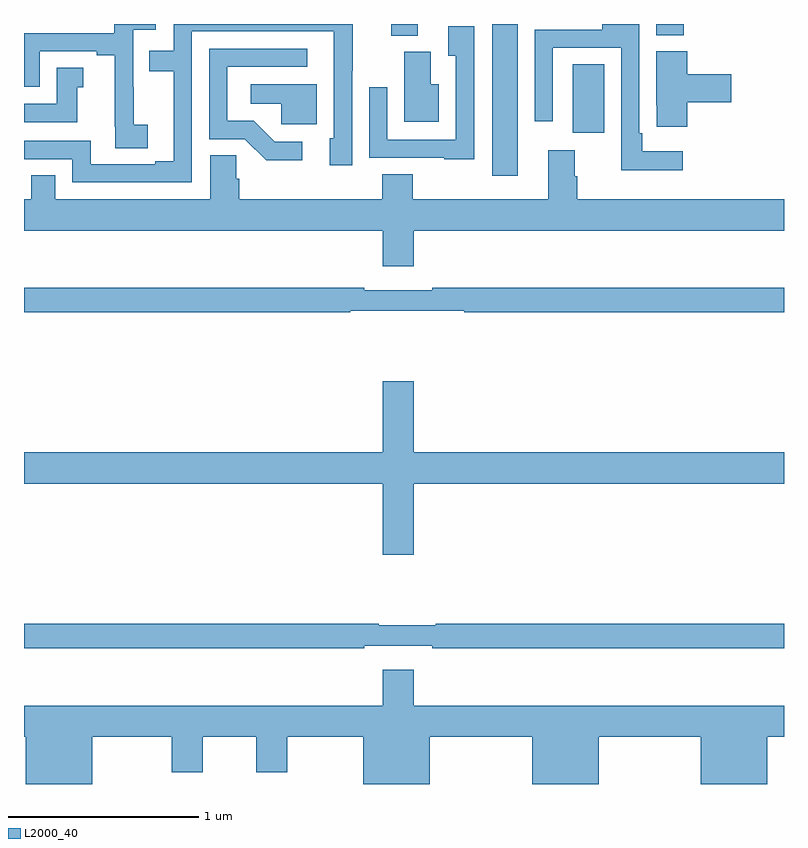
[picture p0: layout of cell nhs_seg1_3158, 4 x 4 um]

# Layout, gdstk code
import gdstk
lib = gdstk.Library(unit=1e-6, precision=1e-09)
def R(c, l, rs):  # rectangles x0, y0, x1, y1
    for r in rs: c.add(gdstk.rectangle(r[:2], r[2:], *l))
def P(c, l, *ps):  # polygons
    for p in ps: c.add(gdstk.Polygon(p, *l))
L2000_40 = (2000, 40)

nhs_seg1_3158 = lib.new_cell('nhs_seg1_3158')
R(nhs_seg1_3158, L2000_40, [(285.464,505.401,285.598,506.199), (285.887,505.626,286.054,505.988), (284.933,506.137,285.073,506.199), (286.328,506.14,286.472,506.199)])
P(nhs_seg1_3158, L2000_40, [(286.468,505.528),(286.255,505.528),(286.255,505.624),(286.239,505.624),(286.239,506.199),(286.043,506.199),(286.043,506.169),(285.687,506.169),(285.687,505.686),(285.783,505.686),(285.783,506.073),(286.143,506.073),(286.143,505.43),(286.468,505.43)],
  [(283.651,505.668),(283.577,505.668),(283.577,505.865),(283.575,505.865),(283.575,506.169),(283.693,506.169),(283.693,506.199),(283.474,506.199),(283.474,506.151),(283,506.151),(283,505.869),(283.083,505.869),(283.083,506.055),(283.382,506.055),(283.382,506.035),(283.478,506.035),(283.478,505.657),(283.48,505.657),(283.48,505.546),(283.651,505.546)],
  [(283.884,506.16),(284.631,506.16),(284.631,505.599),(284.609,505.599),(284.609,505.455),(284.727,505.455),(284.727,505.954),(284.729,505.954),(284.729,506.199),(283.788,506.199),(283.788,506.058),(283.66,506.058),(283.66,505.95),(283.787,505.95),(283.787,505.476),(283.691,505.476),(283.691,505.461),(283.35,505.461),(283.35,505.584),(283,505.584),(283,505.488),(283.254,505.488),(283.254,505.365),(283.884,505.365)],
  [(285.369,506.188),(285.233,506.188),(285.233,506.032),(285.273,506.032),(285.273,505.59),(284.913,505.59),(284.913,505.867),(284.817,505.867),(284.817,505.494),(285.213,505.494),(285.213,505.487),(285.369,505.487)],
  [(284.464,505.578),(284.319,505.578),(284.208,505.689),(284.07,505.689),(284.07,505.974),(284.491,505.974),(284.491,506.07),(283.974,506.07),(283.974,505.593),(284.163,505.593),(284.276,505.481),(284.464,505.481)],
  [(286.49,505.787),(286.723,505.787),(286.723,505.934),(286.49,505.934),(286.49,506.055),(286.328,506.055),(286.328,505.771),(286.329,505.771),(286.329,505.659),(286.49,505.659)],
  [(285.184,505.882),(285.142,505.882),(285.142,506.052),(285.002,506.052),(285.002,505.685),(285.184,505.685)],
  [(283.279,505.867),(283.312,505.867),(283.312,505.97),(283.172,505.97),(283.172,505.779),(283,505.779),(283,505.683),(283.279,505.683)],
  [(284.542,505.882),(284.193,505.882),(284.193,505.778),(284.355,505.778),(284.355,505.671),(284.542,505.671)],
  [(285.052,505.112),(287,505.112),(287,505.276),(285.911,505.276),(285.911,505.397),(285.898,505.397),(285.898,505.534),(285.758,505.534),(285.758,505.276),(285.045,505.276),(285.045,505.409),(284.885,505.409),(284.885,505.276),(284.132,505.276),(284.132,505.385),(284.118,505.385),(284.118,505.508),(283.979,505.508),(283.979,505.276),(283.165,505.276),(283.165,505.403),(283.038,505.403),(283.038,505.276),(283,505.276),(283,505.112),(284.888,505.112),(284.888,504.924),(285.052,504.924)],
  [(284.716,504.69),(285.316,504.69),(285.316,504.682),(287,504.682),(287,504.811),(285.148,504.811),(285.148,504.798),(284.792,504.798),(284.792,504.811),(283,504.811),(283,504.682),(284.716,504.682)],
  [(285.052,503.78),(287,503.78),(287,503.944),(285.052,503.944),(285.052,504.319),(284.888,504.319),(284.888,503.944),(283,503.944),(283,503.78),(284.888,503.78),(284.888,503.406),(285.052,503.406)],
  [(284.792,502.926),(285.148,502.926),(285.148,502.914),(287,502.914),(287,503.042),(285.166,503.042),(285.166,503.035),(284.866,503.035),(284.866,503.042),(283,503.042),(283,502.914),(284.792,502.914)],
  [(283.36,502.448),(283.778,502.448),(283.778,502.26),(283.942,502.26),(283.942,502.448),(284.222,502.448),(284.222,502.26),(284.386,502.26),(284.386,502.448),(284.786,502.448),(284.786,502.199),(285.136,502.199),(285.136,502.448),(285.674,502.448),(285.674,502.199),(286.024,502.199),(286.024,502.448),(286.562,502.448),(286.562,502.199),(286.912,502.199),(286.912,502.448),(287,502.448),(287,502.612),(285.052,502.612),(285.052,502.801),(284.888,502.801),(284.888,502.612),(283,502.612),(283,502.448),(283.01,502.448),(283.01,502.199),(283.36,502.199)])

lib.write_gds('nhs_seg1_3158.gds')
